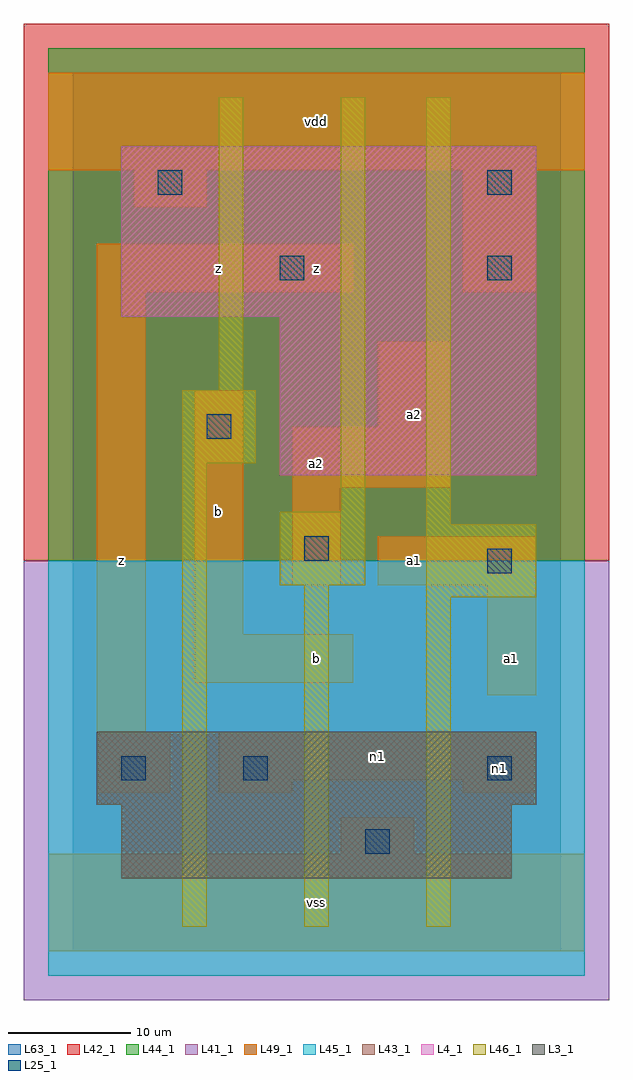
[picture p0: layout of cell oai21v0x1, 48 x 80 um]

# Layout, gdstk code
import gdstk
lib = gdstk.Library(unit=1e-6, precision=1e-09)
def R(c, l, rs):  # rectangles x0, y0, x1, y1
    for r in rs: c.add(gdstk.rectangle(r[:2], r[2:], *l))
L3_1 = (3, 1)
L4_1 = (4, 1)
L25_1 = (25, 1)
L41_1 = (41, 1)
L42_1 = (42, 1)
L43_1 = (43, 1)
L44_1 = (44, 1)
L45_1 = (45, 1)
L46_1 = (46, 1)
L49_1 = (49, 1)
L63_1 = (63, 1)

oai21v0x1 = lib.new_cell('oai21v0x1')
R(oai21v0x1, L3_1, [(4,6,36,12), (2,12,38,18)])
R(oai21v0x1, L4_1, [(17,39,38,52), (4,52,38,66)])
R(oai21v0x1, L25_1, [(24,8,26,10), (4,14,6,16), (14,14,16,16), (34,14,36,16), (34,31,36,33), (19,32,21,34), (11,42,13,44), (17,55,19,57), (34,55,36,57), (7,62,9,64), (34,62,36,64)])
R(oai21v0x1, L41_1, [(-4,-4,44,32)])
R(oai21v0x1, L42_1, [(-4,32,44,76)])
R(oai21v0x1, L43_1, [(4,6,36,12), (2,12,38,18), (17,39,38,52), (4,52,38,66)])
R(oai21v0x1, L44_1, [(-2,32,42,74)])
R(oai21v0x1, L45_1, [(-2,-2,42,32)])
R(oai21v0x1, L46_1, [(9,2,11,40), (19,2,21,30), (29,2,31,29), (29,29,38,35), (17,30,24,36), (29,35,31,70), (22,36,24,70), (9,40,15,46), (12,46,14,70)])
R(oai21v0x1, L49_1, [(-2,0,42,8), (22,8,28,11), (2,13,8,18), (12,13,18,14), (32,13,38,14), (12,14,38,18), (2,18,6,54), (34,21,38,30), (10,22,23,26), (10,26,14,46), (18,30,22,38), (25,30,38,34), (18,38,31,43), (25,43,31,50), (2,54,23,58), (32,54,38,64), (5,61,11,64), (-2,64,42,72)])
R(oai21v0x1, L63_1, [(0,0,40,72)])
oai21v0x1.add(gdstk.Label('z', (4,32), layer=49, texttype=1))
oai21v0x1.add(gdstk.Label('b', (12,36), layer=49, texttype=1))
oai21v0x1.add(gdstk.Label('z', (12,56), layer=49, texttype=1))
oai21v0x1.add(gdstk.Label('vss', (20,4), layer=49, texttype=1))
oai21v0x1.add(gdstk.Label('b', (20,24), layer=49, texttype=1))
oai21v0x1.add(gdstk.Label('a1', (28,32), layer=49, texttype=1))
oai21v0x1.add(gdstk.Label('a2', (20,40), layer=49, texttype=1))
oai21v0x1.add(gdstk.Label('a2', (28,44), layer=49, texttype=1))
oai21v0x1.add(gdstk.Label('z', (20,56), layer=49, texttype=1))
oai21v0x1.add(gdstk.Label('vdd', (20,68), layer=49, texttype=1))
oai21v0x1.add(gdstk.Label('n1', (35,15), layer=49, texttype=1))
oai21v0x1.add(gdstk.Label('n1', (25,16), layer=49, texttype=1))
oai21v0x1.add(gdstk.Label('a1', (36,24), layer=49, texttype=1))

lib.write_gds('oai21v0x1.gds')
